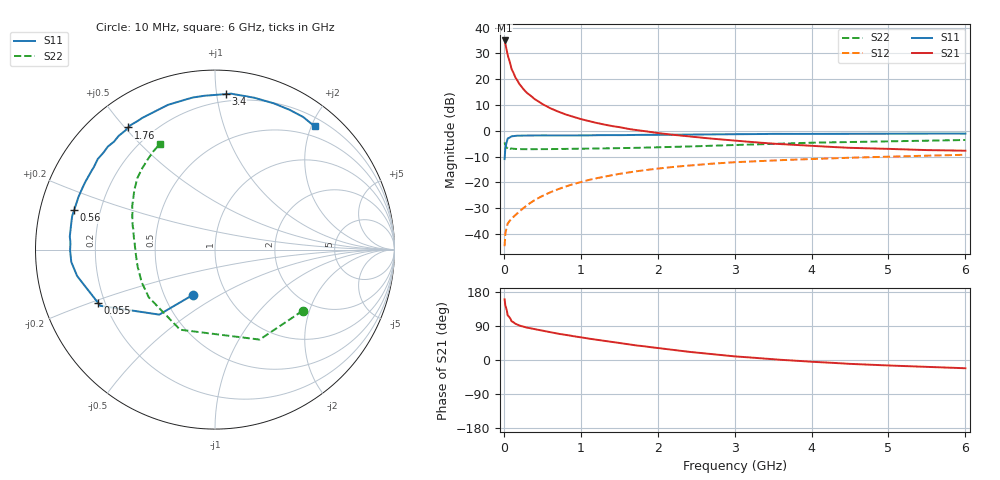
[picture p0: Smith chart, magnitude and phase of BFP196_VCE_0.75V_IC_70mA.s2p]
! Infineon Technologies  Discrete & RF Semiconductors
! BFP196
! VCE = 0.75V,  IC =  70mA
! Common Emitter S-Parameters:  Jan 2016
# GHz  S  MA  R  50
!  f  S11  S21  S12  S22
! GHz  MAG  ANG  MAG  ANG  MAG  ANG  MAG  ANG
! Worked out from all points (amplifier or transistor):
!   210 points, 10 MHz to 6 GHz, reference 50 ohm
!   highest |S21| = 35.0 dB at 10 MHz (marker M1)
!   |S21| within 3 dB of that: start of sweep to 31.37 MHz
!   unconditionally stable (mu >= 1): 227.4 MHz to end of sweep
!   at 185 MHz: K = 0.92, MSG = 25.4 dB, |S12| = -31.7 dB
!   at 1.52 GHz: K = 1.17, MAG = 6.5 dB, |S12| = -16.6 dB
!   at 6 GHz: K = 1.07, MAG = -0.8 dB, |S12| = -9.3 dB
!   S11 on the Smith chart (normalised r, x): 10 MHz: 0.69, -0.38; 55 MHz: 0.17, -0.21; 560 MHz: 0.10, +0.14; 1.76 GHz: 0.11, +0.51; 3.4 GHz: 0.15, +1.06; 6 GHz: 0.33, +2.05
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0.01  0.2828 -116.3  56.54 159.9  0.0058 66.8  0.5955 -34.9
0.02  0.4771 -130.6  48.06 143.3  0.0102 57.7  0.5598 -63.6
0.05  0.7115 -153.9  29 117.7  0.0159 43.8  0.4869 -113.5
0.055  0.7161 -155.6  27.63 116.8  0.0163 43.8  0.4779 -116.3
0.1  0.7823 -169.2  15.88 102.4  0.0198 43.6  0.4547 -144.2
0.15  0.8037 -175.1  10.83 95.5  0.0232 48.3  0.4471 -156.2
0.2  0.8074 -179.7  8.175 91.0  0.0271 53.2  0.4416 -162.6
0.24  0.8063 177.8  6.844 88.6  0.0305 56.0  0.4413 -166.1
0.3  0.8123 174.9  5.45 85.5  0.0358 59.1  0.4409 -169.6
0.4  0.8141 170.2  4.125 81.2  0.0453 62.0  0.4409 -173.6
0.5  0.8174 166.7  3.308 77.4  0.0544 63.1  0.4416 -176.4
0.56  0.8147 164.4  2.976 75.2  0.0601 63.2  0.442 -177.6
0.8  0.8148 155.8  2.087 66.4  0.0829 62.5  0.4458 178.4
1.02  0.8157 148.2  1.662 59.3  0.1033 60.4  0.4499 175.2
1.3  0.8235 139.1  1.328 50.5  0.1288 56.4  0.4567 171.6
1.76  0.8348 125.4  1.017 37.7  0.1672 49.1  0.4691 166.1
2.02  0.838 118.3  0.9 31.1  0.1866 44.7  0.4807 162.8
3.1  0.8599 91.9  0.628 8.2  0.2502 27.4  0.5355 148.4
3.4  0.8685 86.0  0.579 3.5  0.2629 23.1  0.5534 144.5
4.1  0.8736 74.0  0.501 -5.6  0.2876 14.0  0.5919 136.2
5.1  0.8829 60.9  0.442 -15.2  0.3179 2.7  0.6291 126.1
6  0.8829 51.1  0.412 -21.8  0.3431 -7.3  0.6642 117.3
